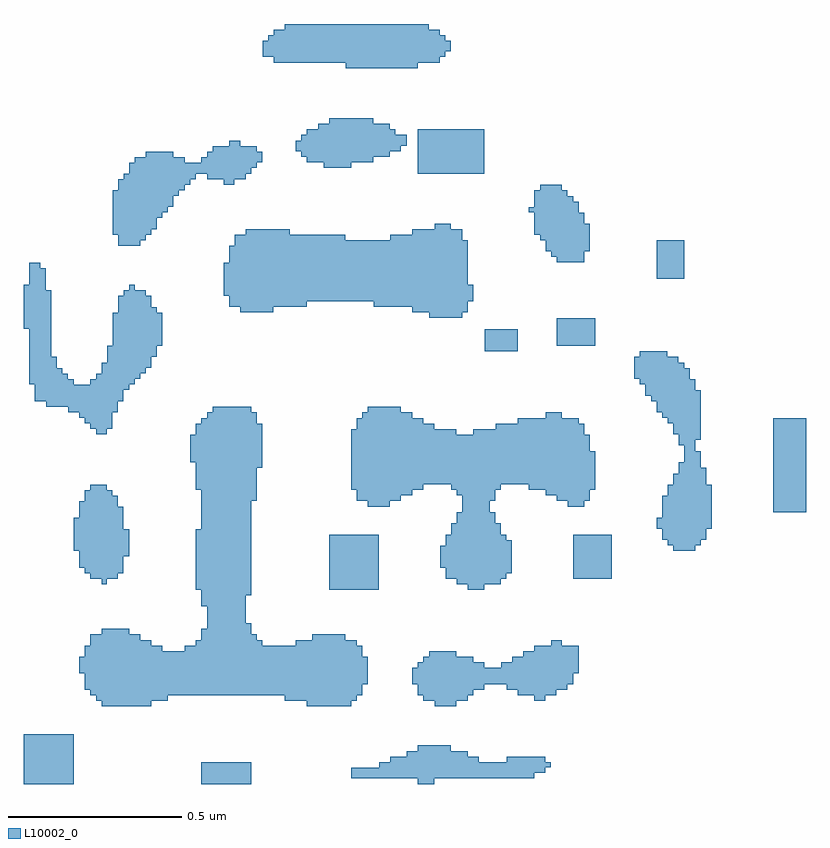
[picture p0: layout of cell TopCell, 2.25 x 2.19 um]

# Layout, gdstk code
import gdstk
lib = gdstk.Library(unit=1e-6, precision=1e-09)
def R(c, l, rs):  # rectangles x0, y0, x1, y1
    for r in rs: c.add(gdstk.rectangle(r[:2], r[2:], *l))
L10002_0 = (10002, 0)

topcell = lib.new_cell('TopCell')
R(topcell, L10002_0, [(1.04,1.024,1.183,1.167), (1.552,1.024,1.695,1.087), (2.176,1.024,2.223,1.04), (1.984,1.04,2.511,1.071), (2.511,1.056,2.543,1.071), (2.064,1.071,2.543,1.087), (2.543,1.072,2.559,1.087), (2.096,1.087,2.351,1.103), (2.432,1.087,2.543,1.103), (2.144,1.103,2.319,1.119), (2.176,1.119,2.271,1.135), (1.264,1.248,1.407,1.264), (1.856,1.248,1.983,1.264), (2.224,1.248,2.287,1.264), (1.248,1.264,1.455,1.28), (1.792,1.264,1.999,1.28), (2.192,1.264,2.319,1.28), (2.512,1.264,2.543,1.28), (1.232,1.28,2.015,1.296), (2.176,1.28,2.335,1.312), (2.464,1.28,2.575,1.296), (1.216,1.296,2.015,1.344), (2.335,1.296,2.367,1.312), (2.432,1.296,2.607,1.312), (2.015,1.312,2.031,1.344), (2.16,1.312,2.623,1.359), (1.2,1.344,2.031,1.391), (2.623,1.344,2.639,1.359), (2.176,1.359,2.367,1.375), (2.416,1.359,2.639,1.375), (2.192,1.375,2.335,1.391), (2.448,1.375,2.639,1.391), (1.216,1.391,2.015,1.407), (2.208,1.391,2.287,1.407), (2.48,1.391,2.639,1.407), (1.216,1.407,1.439,1.423), (1.504,1.407,2.015,1.423), (2.512,1.407,2.639,1.423), (1.232,1.423,1.407,1.439), (1.536,1.423,1.727,1.439), (1.824,1.423,1.999,1.439), (2.56,1.423,2.591,1.439), (1.232,1.439,1.375,1.455), (1.552,1.439,1.711,1.455), (1.872,1.439,1.967,1.455), (1.264,1.455,1.343,1.471), (1.552,1.455,1.695,1.471), (1.568,1.471,1.695,1.487), (1.568,1.487,1.679,1.536), (1.552,1.536,1.679,1.584), (1.679,1.568,1.695,1.584), (1.536,1.584,1.695,1.759), (1.92,1.584,2.063,1.743), (2.32,1.584,2.367,1.6), (1.264,1.6,1.279,1.616), (2.288,1.6,2.415,1.616), (1.232,1.616,1.311,1.632), (2.256,1.616,2.431,1.648), (2.624,1.616,2.735,1.743), (1.216,1.632,1.327,1.648), (2.431,1.632,2.447,1.648), (1.2,1.648,1.327,1.696), (2.24,1.648,2.447,1.711), (1.327,1.68,1.343,1.696), (1.184,1.696,1.343,1.759), (2.912,1.696,2.975,1.712), (2.256,1.711,2.447,1.727), (2.896,1.712,2.991,1.728), (2.256,1.727,2.431,1.743), (2.88,1.728,3.007,1.76), (2.272,1.743,2.415,1.775), (1.184,1.759,1.327,1.791), (1.552,1.759,1.695,1.872), (2.864,1.76,3.023,1.791), (2.288,1.775,2.399,1.807), (1.2,1.791,1.327,1.823), (2.88,1.791,3.023,1.855), (2.304,1.807,2.383,1.856), (3.2,1.808,3.295,2.079), (1.2,1.823,1.311,1.839), (2.032,1.824,2.095,1.84), (2.608,1.824,2.655,1.84), (1.216,1.839,1.311,1.855), (1.695,1.84,1.711,1.872), (2,1.84,2.127,1.872), (2.383,1.84,2.399,1.856), (2.576,1.84,2.671,1.856), (1.216,1.855,1.295,1.871), (2.896,1.855,3.023,1.887), (2.127,1.856,2.159,1.872), (2.288,1.856,2.399,1.872), (2.544,1.856,2.671,1.872), (1.232,1.871,1.279,1.887), (1.536,1.872,1.711,1.952), (1.984,1.872,2.191,2.047), (2.272,1.872,2.415,1.888), (2.496,1.872,2.687,1.888), (2.912,1.887,3.007,1.919), (2.191,1.888,2.687,1.983), (2.928,1.919,3.007,1.935), (2.928,1.935,2.991,1.951), (1.711,1.936,1.727,1.952), (2.944,1.951,2.991,1.983), (1.52,1.952,1.727,2.031), (2.191,1.983,2.671,2.031), (2.944,1.983,2.975,2), (2.928,2,2.975,2.032), (2.975,2.016,2.991,2.032), (1.536,2.031,1.727,2.063), (2.191,2.031,2.287,2.047), (2.336,2.031,2.655,2.047), (1.248,2.032,1.279,2.048), (2.912,2.032,2.991,2.064), (2,2.047,2.223,2.063), (2.4,2.047,2.655,2.063), (1.232,2.048,1.295,2.064), (1.552,2.063,1.711,2.079), (2,2.063,2.191,2.079), (2.464,2.063,2.639,2.079), (1.216,2.064,1.295,2.08), (2.896,2.064,2.991,2.08), (1.568,2.079,1.711,2.095), (2.016,2.079,2.159,2.095), (2.544,2.079,2.591,2.095), (1.2,2.08,1.295,2.096), (2.88,2.08,2.991,2.096), (1.584,2.095,1.695,2.111), (2.032,2.095,2.127,2.111), (1.168,2.096,1.311,2.112), (2.864,2.096,2.991,2.128), (1.104,2.112,1.311,2.128), (1.072,2.128,1.327,2.175), (2.848,2.128,2.991,2.144), (2.832,2.144,2.991,2.159), (2.832,2.159,2.975,2.176), (1.327,2.16,1.343,2.175), (1.072,2.175,1.183,2.176), (1.232,2.175,1.343,2.191), (1.056,2.176,1.183,2.191), (1.343,2.176,1.359,2.191), (2.816,2.176,2.975,2.191), (1.056,2.191,1.167,2.207), (1.248,2.191,1.359,2.207), (2.816,2.191,2.959,2.192), (1.359,2.192,1.375,2.207), (2.8,2.192,2.959,2.223), (1.056,2.207,1.151,2.223), (1.264,2.207,1.375,2.239), (1.375,2.208,1.391,2.239), (1.056,2.223,1.135,2.255), (2.8,2.223,2.943,2.239), (1.391,2.224,1.407,2.239), (1.28,2.239,1.407,2.287), (2.8,2.239,2.927,2.255), (1.056,2.255,1.119,2.336), (2.816,2.255,2.895,2.271), (1.407,2.256,1.423,2.287), (2.368,2.272,2.463,2.335), (1.296,2.287,1.423,2.383), (1.423,2.288,1.439,2.383), (2.576,2.288,2.687,2.367), (1.04,2.336,1.119,2.447), (2.208,2.368,2.303,2.384), (1.312,2.383,1.423,2.399), (1.664,2.384,1.759,2.4), (2.16,2.384,2.319,2.4), (1.312,2.399,1.407,2.431), (1.632,2.4,1.855,2.432), (2.048,2.4,2.319,2.416), (1.855,2.416,2.335,2.432), (1.328,2.431,1.391,2.447), (1.616,2.432,2.335,2.463), (1.04,2.447,1.103,2.463), (1.344,2.447,1.359,2.463), (1.056,2.463,1.103,2.511), (1.616,2.463,2.319,2.527), (2.864,2.48,2.943,2.591), (1.056,2.511,1.087,2.527), (1.632,2.527,2.319,2.575), (2.576,2.528,2.655,2.544), (2.56,2.544,2.655,2.56), (2.544,2.56,2.671,2.592), (1.648,2.575,2.319,2.591), (1.312,2.576,1.375,2.608), (1.648,2.591,1.967,2.607), (2.096,2.591,2.303,2.607), (1.375,2.592,1.391,2.608), (2.528,2.592,2.671,2.608), (1.68,2.607,1.807,2.623), (2.16,2.607,2.303,2.623), (1.296,2.608,1.407,2.735), (2.512,2.608,2.671,2.639), (2.224,2.623,2.271,2.639), (1.407,2.624,1.423,2.735), (2.512,2.639,2.655,2.671), (1.423,2.656,1.439,2.735), (2.512,2.671,2.639,2.672), (1.439,2.672,1.455,2.735), (2.496,2.672,2.639,2.687), (2.512,2.687,2.639,2.703), (1.455,2.688,1.471,2.735), (2.512,2.703,2.623,2.719), (2.512,2.719,2.607,2.735), (1.471,2.72,1.487,2.735), (1.312,2.735,1.487,2.767), (2.528,2.735,2.591,2.751), (1.487,2.736,1.503,2.767), (1.503,2.752,1.519,2.767), (1.616,2.752,1.647,2.768), (1.328,2.767,1.519,2.783), (1.519,2.768,1.535,2.783), (1.568,2.768,1.679,2.784), (1.344,2.783,1.535,2.815), (1.535,2.784,1.695,2.815), (2.176,2.784,2.367,2.911), (1.695,2.8,1.711,2.815), (1.904,2.8,1.983,2.816), (1.36,2.815,1.503,2.831), (1.552,2.815,1.711,2.831), (1.711,2.816,1.727,2.831), (1.856,2.816,2.047,2.832), (1.392,2.831,1.471,2.847), (1.568,2.831,1.727,2.847), (1.84,2.832,2.095,2.848), (1.584,2.847,1.711,2.863), (1.824,2.848,2.127,2.879), (1.632,2.863,1.663,2.879), (2.127,2.864,2.143,2.879), (1.84,2.879,2.143,2.895), (1.856,2.895,2.111,2.911), (1.888,2.911,2.095,2.927), (1.92,2.927,2.047,2.943), (1.968,3.088,2.175,3.104), (1.76,3.104,2.239,3.12), (1.728,3.12,2.255,3.167), (2.255,3.136,2.271,3.167), (1.744,3.167,2.255,3.183), (1.76,3.183,2.239,3.199), (1.792,3.199,2.207,3.215)])

lib.write_gds('TopCell.gds')
